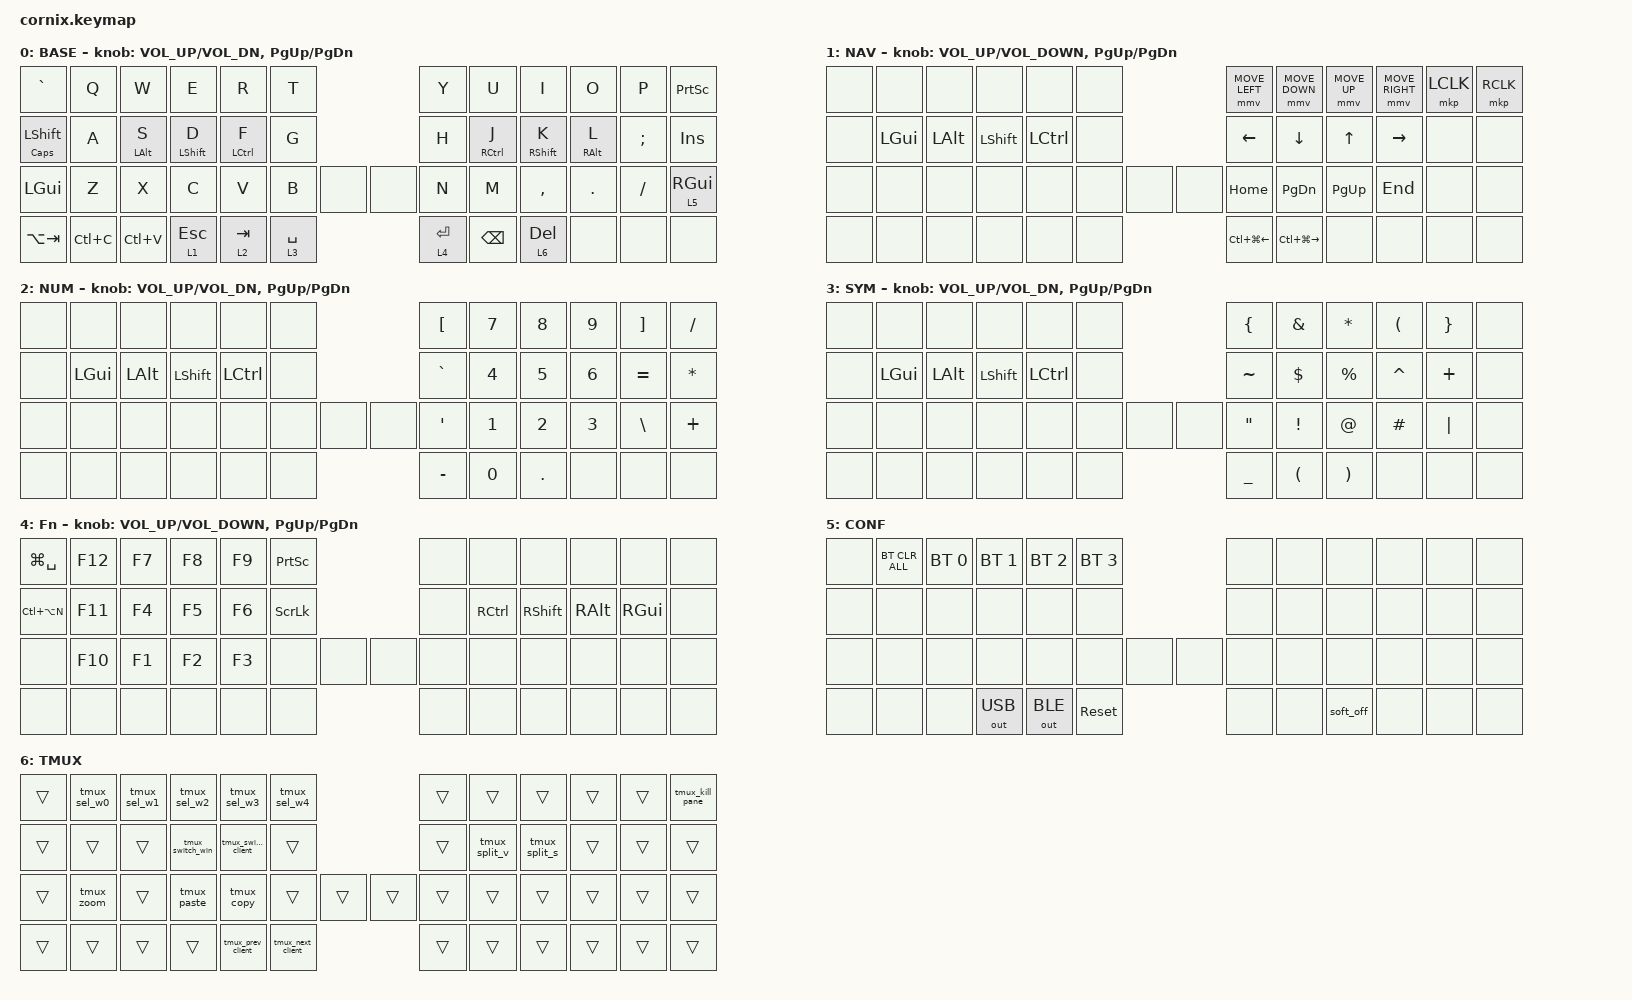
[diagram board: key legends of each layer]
/*
 * Copyright (c) 2020 The ZMK Contributors
 *
 * SPDX-License-Identifier: MIT
 */

#include "zmk-helpers/helper.h"
#include "includes/cornix54.h"

// https://github.com/urob/zmk-config/tree/main#timeless-homerow-mods

#define KEYS_L LT0 LT1 LT2 LT3 LT4 LT5 LM0 LM1 LM2 LM3 LM4 LM5 LB0 LB1 LB2 LB3 LB4 LB5  // left hand
#define KEYS_R RT0 RT1 RT2 RT3 RT4 RT5 RM0 RM1 RM2 RM3 RM4 RM5 RB0 RB1 RB2 RB3 RB4 RB5  // right hand
#define THUMBS LH1 LH0 RH0 RH1
#define KEYS_T LH1 LH0 RH0 RH1
#define ZMK_POINTING_DEFAULT_SCRL_VAL 15

#include <behaviors.dtsi>
#include <dt-bindings/zmk/bt.h>
#include <dt-bindings/zmk/keys.h>
#include <dt-bindings/zmk/outputs.h>
#include <dt-bindings/zmk/pointing.h>

/ {
    // Activate ADJUST layer by pressing raise and lower

    behaviors {
        hm_l: homerow_mods_left {
            compatible = "zmk,behavior-hold-tap";
            #binding-cells = <2>;
            bindings = <&kp>, <&kp>;

            flavor = "balanced";
            tapping-term-ms = <200>;
            quick-tap-ms = <175>;                // repeat on tap-into-hold
            require-prior-idle-ms = <150>;
            hold-trigger-key-positions = <KEYS_R KEYS_T 6 7 8 9 10 11 18 19 20 21 22 23 32 33 34 35 36 37 45 46 47 48 49 31 44>;
            hold-trigger-on-release;
        };

        hm_r: homerow_mods_right {
            compatible = "zmk,behavior-hold-tap";
            #binding-cells = <2>;
            bindings = <&kp>, <&kp>;

            flavor = "balanced";
            tapping-term-ms = <200>;
            quick-tap-ms = <175>;
            require-prior-idle-ms = <150>;
            hold-trigger-key-positions = <KEYS_L KEYS_T 0 1 2 3 4 5 12 13 14 15 16 17 24 25 26 27 28 29 30 38 39 40 41 42 43>;
            hold-trigger-on-release;
        };

        softoff: softoff {
            compatible = "zmk,behavior-soft-off";
            label = "SOFTOFF";
            #binding-cells = <0>;
            hold-time-ms = <2000>;
            split-peripheral-off-on-press;
        };

        // Positional Homerow mods for shift
        // Use faster tapping term and disable some features that may
        // cause false negatives.
        /*
         * Non-Positional Homerow Mods
         * Used for &mm_grescm_gui behavior on left hand.
         *
         * Usage: &hm LSHFT T
         * Tap: T
         * Tap-Tap-Hold: Repeat T
         * Hold: LSHIFT
         */
    };

    conditional_layers { compatible = "zmk,conditional-layers"; };

    combos { compatible = "zmk,combos"; };

    macros {
        tmux_zoom: tmux_zoom {
            compatible = "zmk,behavior-macro";
            #binding-cells = <0>;
            bindings =
                <&macro_press>,
                <&kp LC(A)>,
                <&macro_release>,
                <&kp LC(A)>,
                <&macro_tap>,
                <&kp Z>;

            label = "TMUX_ZOOM";
        };

        tmux_switch_win: tmux_switch_win {
            compatible = "zmk,behavior-macro";
            #binding-cells = <0>;
            bindings =
                <&macro_press>,
                <&kp LC(A)>,
                <&macro_release>,
                <&kp LC(A)>,
                <&macro_tap>,
                <&kp L>;

            label = "TMUX_SWITCH_WIN";
        };

        tmux_switch_client: tmux_switch_client {
            compatible = "zmk,behavior-macro";
            #binding-cells = <0>;
            bindings =
                <&macro_press>,
                <&kp LC(A)>,
                <&macro_release>,
                <&kp LC(A)>,
                <&macro_tap>,
                <&kp LS(L)>;

            label = "TMUX_SWITCH_CLIENT";
        };

        tmux_next_client: tmux_next_client {
            compatible = "zmk,behavior-macro";
            #binding-cells = <0>;
            bindings =
                <&macro_press>,
                <&kp LC(A)>,
                <&macro_release>,
                <&kp LC(A)>,
                <&macro_tap>,
                <&kp RIGHT_PARENTHESIS>;

            label = "TMUX_NEXT_CLIENT";
        };

        tmux_prev_client: tmux_prev_client {
            compatible = "zmk,behavior-macro";
            #binding-cells = <0>;
            bindings =
                <&macro_press>,
                <&kp LC(A)>,
                <&macro_release>,
                <&kp LC(A)>,
                <&macro_tap>,
                <&kp LEFT_PARENTHESIS>;

            label = "TMUX_PREV_CLIENT";
        };

        tmux_copy: tmux_copy {
            compatible = "zmk,behavior-macro";
            #binding-cells = <0>;
            bindings =
                <&macro_press>,
                <&kp LC(A)>,
                <&macro_release>,
                <&kp LC(A)>,
                <&macro_tap>,
                <&kp LEFT_BRACKET>;

            label = "TMUX_COPY";
        };

        tmux_paste: tmux_paste {
            compatible = "zmk,behavior-macro";
            #binding-cells = <0>;
            bindings =
                <&macro_press>,
                <&kp LC(A)>,
                <&macro_release>,
                <&kp LC(A)>,
                <&macro_tap>,
                <&kp RIGHT_BRACKET>;

            label = "TMUX_PASTE";
        };

        tmux_sel_w0: tmux_sel_w0 {
            compatible = "zmk,behavior-macro";
            #binding-cells = <0>;
            bindings =
                <&macro_press>,
                <&kp LC(A)>,
                <&macro_release>,
                <&kp LC(A)>,
                <&macro_tap>,
                <&kp N0>;

            label = "TMUX_SEL_W0";
        };

        tmux_sel_w1: tmux_sel_w1 {
            compatible = "zmk,behavior-macro";
            #binding-cells = <0>;
            bindings =
                <&macro_press>,
                <&kp LC(A)>,
                <&macro_release>,
                <&kp LC(A)>,
                <&macro_tap>,
                <&kp NUMBER_1>;

            label = "TMUX_SEL_W1";
        };

        tmux_sel_w2: tmux_sel_w2 {
            compatible = "zmk,behavior-macro";
            #binding-cells = <0>;
            bindings =
                <&macro_press>,
                <&kp LC(A)>,
                <&macro_release>,
                <&kp LC(A)>,
                <&macro_tap>,
                <&kp NUMBER_2>;

            label = "TMUX_SEL_W2";
        };

        tmux_sel_w3: tmux_sel_w3 {
            compatible = "zmk,behavior-macro";
            #binding-cells = <0>;
            bindings =
                <&macro_press>,
                <&kp LC(A)>,
                <&macro_release>,
                <&kp LC(A)>,
                <&macro_tap>,
                <&kp NUMBER_3>;

            label = "TMUX_SEL_W3";
        };

        tmux_sel_w4: tmux_sel_w4 {
            compatible = "zmk,behavior-macro";
            #binding-cells = <0>;
            bindings =
                <&macro_press>,
                <&kp LC(A)>,
                <&macro_release>,
                <&kp LC(A)>,
                <&macro_tap>,
                <&kp NUMBER_4>;

            label = "TMUX_SEL_W4";
        };

        tmux_kill_pane: tmux_kill_pane {
            compatible = "zmk,behavior-macro";
            #binding-cells = <0>;
            bindings =
                <&macro_press>,
                <&kp LC(A)>,
                <&macro_release>,
                <&kp LC(A)>,
                <&macro_tap>,
                <&kp X>,
                <&macro_tap>,
                <&kp Y>;

            label = "TMUX_KILL_PANE";
        };

        tmux_split_v: tmux_split_v {
            compatible = "zmk,behavior-macro";
            #binding-cells = <0>;
            bindings =
                <&macro_press>,
                <&kp LC(A)>,
                <&macro_release>,
                <&kp LC(A)>,
                <&macro_tap>,
                <&kp PERCENT>;

            label = "TMUX_SPLIT_V";
        };

        tmux_split_s: tmux_split_s {
            compatible = "zmk,behavior-macro";
            #binding-cells = <0>;
            bindings =
                <&macro_press>,
                <&kp LC(A)>,
                <&macro_release>,
                <&kp LC(A)>,
                <&macro_tap>,
                <&kp DOUBLE_QUOTES>;

            label = "TMUX_SPLIT_S";
        };
    };

    keymap {
        compatible = "zmk,keymap";

        default_layer {
            display-name = "BASE";

            // ------------------------------------------------------------------------------------------------------------
            // |   `   |  1  |  2  |  3   |  4   |  5   |                   |  6   |  7    |  8    |  9   |   0   |       |
            // |  ESC  |  Q  |  W  |  E   |  R   |  T   |                   |  Y   |  U    |  I    |  O   |   P   | BKSPC |
            // |  TAB  |  A  |  S  |  D   |  F   |  G   |                   |  H   |  J    |  K    |  L   |   ;   |   '   |
            // | SHIFT |  Z  |  X  |  C   |  V   |  B   |  MUTE  |  |       |  N   |  M    |  ,    |  .   |   /   | SHIFT |
            //               | GUI | ALT  | CTRL | LOWER|  ENTER |  | SPACE | RAISE| CTRL  | ALT   | GUI  |

            bindings = <
&kp GRAVE              &kp Q      &kp W         &kp E               &kp R          &kp T                      &kp Y        &kp U          &kp I                &kp O         &kp P          &kp PRINTSCREEN
&hm_l CLCK LEFT_SHIFT  &kp A      &hm_l LALT S  &hm_l LEFT_SHIFT D  &hm_l LCTRL F  &kp G                      &kp H        &hm_r RCTRL J  &hm_r RIGHT_SHIFT K  &hm_r RALT L  &kp SEMICOLON  &kp INS
&kp LEFT_GUI           &kp Z      &kp X         &kp C               &kp V          &kp B        &none  &none  &kp N        &kp M          &kp COMMA            &kp DOT       &kp FSLH       &lt 5 RGUI
&kp LA(TAB)            &kp LC(C)  &kp LC(V)     &lt 1 ESCAPE        &lt 2 TAB      &lt 3 SPACE                &lt 4 ENTER  &kp BACKSPACE  &lt 6 DEL            &none         &none          &none
            >;

            sensor-bindings = <&inc_dec_kp C_VOL_UP C_VOL_DN &inc_dec_kp PG_UP PG_DN>;
        };

        nav_layer {
            bindings = <
&none  &none     &none     &none      &none      &none                &mmv MOVE_LEFT          &mmv MOVE_DOWN           &mmv MOVE_UP  &mmv MOVE_RIGHT  &mkp LCLK  &mkp RCLK
&none  &kp LGUI  &kp LALT  &kp LSHFT  &kp LCTRL  &none                &kp LEFT                &kp DOWN                 &kp UP_ARROW  &kp RIGHT        &none      &none
&none  &none     &none     &none      &none      &none  &none  &none  &kp HOME                &kp PG_DN                &kp PG_UP     &kp END          &none      &none
&none  &none     &none     &none      &none      &none                &kp LC(LG(LEFT_ARROW))  &kp LC(LG(RIGHT_ARROW))  &none         &none            &none      &none
            >;

            label = "NAV";
            sensor-bindings =
                <&inc_dec_kp C_VOLUME_UP C_VOLUME_DOWN>,
                <&inc_dec_kp PAGE_UP PAGE_DOWN>;
        };

        num_layer {
            bindings = <
&none  &none     &none     &none      &none      &none                &kp LBKT   &kp N7  &kp N8   &kp N9  &kp RBKT   &kp SLASH
&none  &kp LGUI  &kp LALT  &kp LSHFT  &kp LCTRL  &none                &kp GRAVE  &kp N4  &kp N5   &kp N6  &kp EQUAL  &kp ASTERISK
&none  &none     &none     &none      &none      &none  &none  &none  &kp APOS   &kp N1  &kp N2   &kp N3  &kp BSLH   &kp PLUS
&none  &none     &none     &none      &none      &none                &kp MINUS  &kp N0  &kp DOT  &none   &none      &none
            >;

            label = "NUM";
            sensor-bindings =
                <&inc_dec_kp C_VOLUME_UP C_VOL_DN>,
                <&inc_dec_kp PG_UP PAGE_DOWN>;
        };

        sym_layer {
            bindings = <
&none  &none     &none     &none      &none      &none                &kp LEFT_BRACE     &kp AMPERSAND         &kp ASTERISK           &kp LEFT_PARENTHESIS  &kp RIGHT_BRACE  &none
&none  &kp LGUI  &kp LALT  &kp LSHFT  &kp LCTRL  &none                &kp TILDE          &kp DOLLAR            &kp PERCENT            &kp CARET             &kp PLUS         &none
&none  &none     &none     &none      &none      &none  &none  &none  &kp DOUBLE_QUOTES  &kp EXCLAMATION       &kp AT_SIGN            &kp HASH              &kp PIPE         &none
&none  &none     &none     &none      &none      &none                &kp UNDERSCORE     &kp LEFT_PARENTHESIS  &kp RIGHT_PARENTHESIS  &none                 &none            &none
            >;

            label = "SYM";
            sensor-bindings =
                <&inc_dec_kp C_VOLUME_UP C_VOL_DN>,
                <&inc_dec_kp PG_UP PAGE_DOWN>;
        };

        Fn_layer {
            bindings = <
&kp LG(SPACE)  &kp F12  &kp F7  &kp F8  &kp F9  &kp PRINTSCREEN                &none  &none      &none      &none     &none     &none
&kp LC(LA(N))  &kp F11  &kp F4  &kp F5  &kp F6  &kp SCROLLLOCK                 &none  &kp RCTRL  &kp RSHFT  &kp RALT  &kp RGUI  &none
&none          &kp F10  &kp F1  &kp F2  &kp F3  &none            &none  &none  &none  &none      &none      &none     &none     &none
&none          &none    &none   &none   &none   &none                          &none  &none      &none      &none     &none     &none
            >;

            label = "Fn";
            sensor-bindings =
                <&inc_dec_kp C_VOLUME_UP C_VOLUME_DOWN>,
                <&inc_dec_kp PAGE_UP PAGE_DOWN>;
        };

        conf_layer {
            bindings = <
&none  &bt BT_CLR_ALL  &bt BT_SEL 0  &bt BT_SEL 1  &bt BT_SEL 2  &bt BT_SEL 3                &none  &none  &none      &none  &none  &none
&none  &none           &none         &none         &none         &none                       &none  &none  &none      &none  &none  &none
&none  &none           &none         &none         &none         &none         &none  &none  &none  &none  &none      &none  &none  &none
&none  &none           &none         &out OUT_USB  &out OUT_BLE  &sys_reset                  &none  &none  &soft_off  &none  &none  &none
            >;

            label = "CONF";
        };

        tmux {
            bindings = <
&trans  &tmux_sel_w0  &tmux_sel_w1  &tmux_sel_w2      &tmux_sel_w3         &tmux_sel_w4                       &trans  &trans         &trans         &trans  &trans  &tmux_kill_pane
&trans  &trans        &trans        &tmux_switch_win  &tmux_switch_client  &trans                             &trans  &tmux_split_v  &tmux_split_s  &trans  &trans  &trans
&trans  &tmux_zoom    &trans        &tmux_paste       &tmux_copy           &trans             &trans  &trans  &trans  &trans         &trans         &trans  &trans  &trans
&trans  &trans        &trans        &trans            &tmux_prev_client    &tmux_next_client                  &trans  &trans         &trans         &trans  &trans  &trans
            >;

            label = "TMUX";
        };
    };
};
